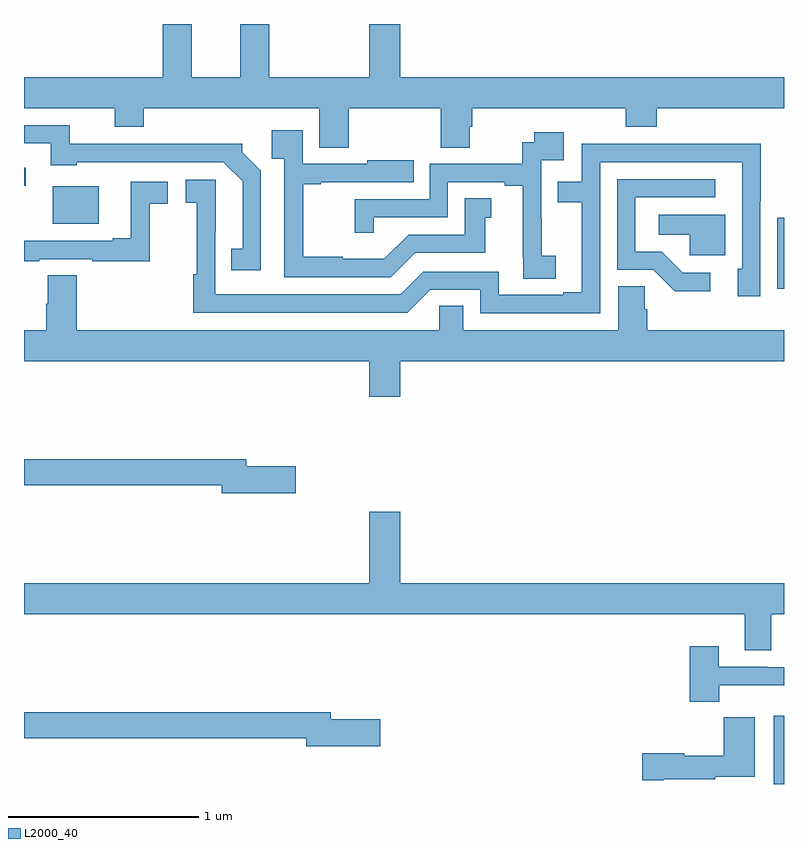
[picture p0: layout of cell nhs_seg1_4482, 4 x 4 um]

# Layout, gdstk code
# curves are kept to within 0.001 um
import gdstk
lib = gdstk.Library(unit=1e-6, precision=1e-09)
def R(c, l, rs):  # rectangles x0, y0, x1, y1
    for r in rs: c.add(gdstk.rectangle(r[:2], r[2:], *l))
def P(c, l, *ps):  # polygons
    for p in ps: c.add(gdstk.Polygon(p, *l))
L2000_40 = (2000, 40)

nhs_seg1_4482 = lib.new_cell('nhs_seg1_4482')
R(nhs_seg1_4482, L2000_40, [(358.946,524.199,359,524.557), (358.965,526.806,359,527.179), (355.151,527.147,355.393,527.344), (355,527.349,355.009,527.443)])
P(nhs_seg1_4482, L2000_40, [(356.98,528.199),(356.816,528.199),(356.816,527.92),(356.291,527.92),(356.291,528.199),(356.138,528.199),(356.138,527.92),(355.882,527.92),(355.882,528.199),(355.73,528.199),(355.73,527.92),(355,527.92),(355,527.756),(355.478,527.756),(355.478,527.657),(355.631,527.657),(355.631,527.756),(356.555,527.756),(356.555,527.548),(356.708,527.548),(356.708,527.756),(357.194,527.756),(357.194,527.548),(357.346,527.548),(357.346,527.658),(357.359,527.658),(357.359,527.756),(358.166,527.756),(358.166,527.657),(358.331,527.657),(358.331,527.756),(359,527.756),(359,527.92),(356.98,527.92)],
  [(356.247,527.426),(356.148,527.525),(356.148,527.57),(355.714,527.57),(355.714,527.568),(355.242,527.568),(355.242,527.667),(355,527.667),(355,527.571),(355.142,527.571),(355.142,527.456),(355.278,527.456),(355.278,527.472),(356.049,527.472),(356.15,527.371),(356.15,527.015),(356.092,527.015),(356.092,526.902),(356.247,526.902)],
  [(357.06,526.995),(357.427,526.995),(357.427,527.179),(357.46,527.179),(357.46,527.282),(357.32,527.282),(357.32,527.091),(357.024,527.091),(356.896,526.963),(356.678,526.963),(356.678,526.975),(356.471,526.975),(356.471,527.355),(356.563,527.355),(356.563,527.367),(357.05,527.367),(357.05,527.482),(356.807,527.482),(356.807,527.463),(356.466,527.463),(356.466,527.641),(356.305,527.641),(356.305,527.489),(356.37,527.489),(356.37,526.866),(356.931,526.866)],
  [(357.799,526.98),(357.725,526.98),(357.725,527.177),(357.723,527.177),(357.723,527.481),(357.841,527.481),(357.841,527.629),(357.685,527.629),(357.685,527.577),(357.622,527.577),(357.622,527.463),(357.135,527.463),(357.135,527.277),(356.74,527.277),(356.74,527.1),(356.841,527.1),(356.841,527.181),(357.231,527.181),(357.231,527.367),(357.53,527.367),(357.53,527.347),(357.626,527.347),(357.626,526.969),(357.628,526.969),(357.628,526.858),(357.799,526.858)],
  [(358.032,527.472),(358.779,527.472),(358.779,526.911),(358.757,526.911),(358.757,526.767),(358.875,526.767),(358.875,527.266),(358.877,527.266),(358.877,527.57),(358.414,527.57),(358.414,527.568),(357.936,527.568),(357.936,527.37),(357.808,527.37),(357.808,527.262),(357.935,527.262),(357.935,526.788),(357.839,526.788),(357.839,526.773),(357.498,526.773),(357.498,526.896),(357.102,526.896),(356.982,526.776),(356.007,526.776),(356.008,527.38),(355.851,527.38),(355.851,527.259),(355.909,527.259),(355.909,526.883),(355.891,526.883),(355.891,526.68),(357.018,526.68),(357.138,526.8),(357.402,526.8),(357.402,526.677),(358.032,526.677)],
  [(358.612,526.89),(358.467,526.89),(358.356,527.001),(358.218,527.001),(358.218,527.286),(358.639,527.286),(358.639,527.382),(358.122,527.382),(358.122,526.905),(358.311,526.905),(358.424,526.793),(358.612,526.793)],
  [(355.081,526.962),(355.36,526.962),(355.36,526.95),(355.662,526.95),(355.662,527.254),(355.756,527.254),(355.756,527.37),(355.562,527.37),(355.562,527.071),(355.466,527.071),(355.466,527.058),(355,527.058),(355,526.95),(355.081,526.95)],
  [(358.69,527.194),(358.341,527.194),(358.341,527.09),(358.503,527.09),(358.503,526.983),(358.69,526.983)],
  [(356.98,526.424),(359,526.424),(359,526.588),(358.28,526.588),(358.28,526.697),(358.266,526.697),(358.266,526.82),(358.127,526.82),(358.127,526.588),(357.313,526.588),(357.313,526.715),(357.186,526.715),(357.186,526.588),(355.277,526.588),(355.277,526.877),(355.124,526.877),(355.124,526.727),(355.117,526.727),(355.117,526.588),(355,526.588),(355,526.424),(356.816,526.424),(356.816,526.236),(356.98,526.236)],
  [(356.431,525.872),(356.17,525.872),(356.17,525.908),(355,525.908),(355,525.772),(356.042,525.772),(356.042,525.73),(356.431,525.73)],
  [(358.933,525.092),(359,525.092),(359,525.256),(356.98,525.256),(356.98,525.631),(356.816,525.631),(356.816,525.256),(355,525.256),(355,525.092),(358.793,525.092),(358.793,524.902),(358.933,524.902)],
  [(358.66,524.718),(359,524.718),(359,524.814),(358.913,524.814),(358.913,524.817),(358.657,524.817),(358.657,524.923),(358.505,524.923),(358.505,524.633),(358.66,524.633)],
  [(356.875,524.54),(356.614,524.54),(356.614,524.576),(355,524.576),(355,524.44),(356.486,524.44),(356.486,524.398),(356.875,524.398)],
  [(358.366,524.225),(358.638,524.225),(358.638,524.237),(358.846,524.237),(358.846,524.551),(358.684,524.551),(358.684,524.347),(358.476,524.347),(358.476,524.36),(358.254,524.36),(358.254,524.218),(358.366,524.218)])

lib.write_gds('nhs_seg1_4482.gds')
